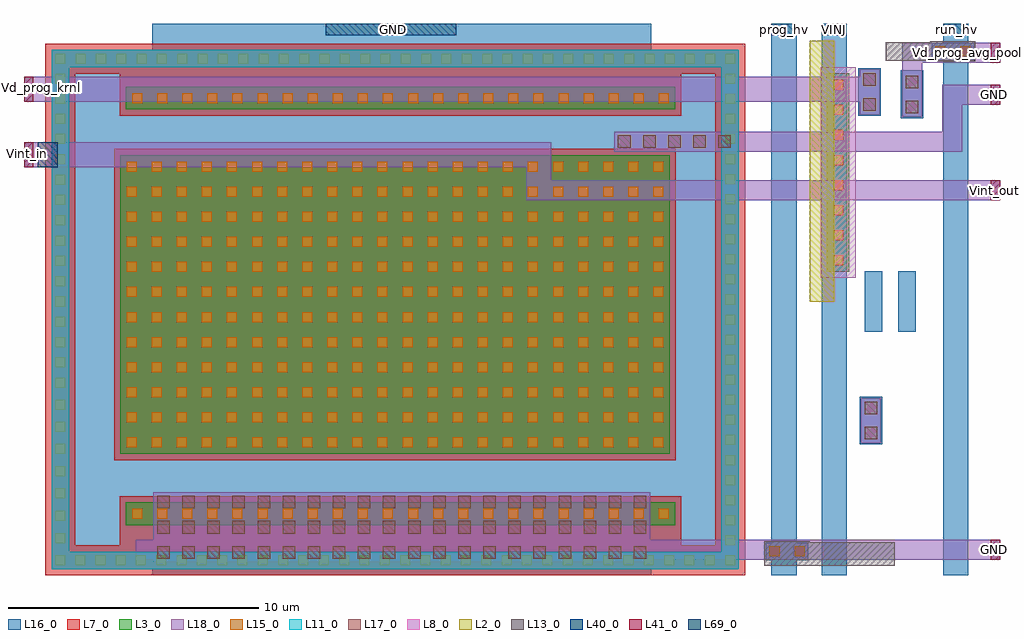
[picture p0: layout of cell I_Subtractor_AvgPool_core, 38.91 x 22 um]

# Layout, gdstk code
from math import pi, radians
import gdstk
lib = gdstk.Library(unit=1e-6, precision=1e-09)
def R(c, l, rs):  # rectangles x0, y0, x1, y1
    for r in rs: c.add(gdstk.rectangle(r[:2], r[2:], *l))
def A(c, l, x, y, w, h, nx, ny, dx, dy):  # array of equal rectangles
    R(c, l, [(x+i*dx, y+j*dy, x+i*dx+w, y+j*dy+h) for i in range(nx) for j in range(ny)])
L2_0 = (2, 0)
L3_0 = (3, 0)
L7_0 = (7, 0)
L8_0 = (8, 0)
L11_0 = (11, 0)
L13_0 = (13, 0)
L15_0 = (15, 0)
L16_0 = (16, 0)
L17_0 = (17, 0)
L18_0 = (18, 0)
L40_0 = (40, 0)
L41_0 = (41, 0)
L69_0 = (69, 0)

m2_m1_cdns_761869623390 = lib.new_cell('M2_M1_CDNS_761869623390')
R(m2_m1_cdns_761869623390, L16_0, [(-9.95,-1.45,9.95,1.45)])
A(m2_m1_cdns_761869623390, L17_0, -9.75, -1.25, 0.5, 0.5, 20, 3, 1, 1)
R(m2_m1_cdns_761869623390, L18_0, [(-9.9,-1.4,9.9,1.4)])

m1_pactive_cdns_76186962 = lib.new_cell('M1_PACTIVE_CDNS_761869623391')
R(m1_pactive_cdns_76186962, L3_0, [(-10.95,-5.95,10.95,5.95)])
R(m1_pactive_cdns_76186962, L7_0, [(-11.2,-6.2,11.2,6.2)])
A(m1_pactive_cdns_76186962, L15_0, -10.7, -5.7, 0.4, 0.4, 22, 12, 1, 1)
R(m1_pactive_cdns_76186962, L16_0, [(-10.85,-5.85,10.85,5.85)])

m1_poly1_cdns_7618696233 = lib.new_cell('M1_POLY1_CDNS_761869623392')
R(m1_poly1_cdns_7618696233, L13_0, [(-0.9,-0.4,0.9,0.4)])
R(m1_poly1_cdns_7618696233, L15_0, [(-0.7,-0.2,-0.3,0.2), (0.3,-0.2,0.7,0.2)])
R(m1_poly1_cdns_7618696233, L16_0, [(-0.85,-0.35,0.85,0.35)])

c_m1_pactive_cdns_76186962 = lib.new_cell('M1_PACTIVE_CDNS_761869623393')
R(c_m1_pactive_cdns_76186962, L3_0, [(-10.95,-0.45,10.95,0.45)])
R(c_m1_pactive_cdns_76186962, L7_0, [(-11.2,-0.7,11.2,0.7)])
A(c_m1_pactive_cdns_76186962, L15_0, -10.7, -0.2, 0.4, 0.4, 22, 1, 1, 0)
R(c_m1_pactive_cdns_76186962, L16_0, [(-10.85,-0.35,10.85,0.35)])

m2_m1_cdns_761869623394 = lib.new_cell('M2_M1_CDNS_761869623394')
R(m2_m1_cdns_761869623394, L16_0, [(-0.45,-0.95,0.45,0.95)])
R(m2_m1_cdns_761869623394, L17_0, [(-0.25,-0.75,0.25,-0.25), (-0.25,0.25,0.25,0.75)])
R(m2_m1_cdns_761869623394, L18_0, [(-0.4,-0.9,0.4,0.9)])

m1_nactive_cdns_76186962 = lib.new_cell('M1_NACTIVE_CDNS_761869623395')
R(m1_nactive_cdns_76186962, L3_0, [(-0.45,-3.95,0.45,3.95)])
R(m1_nactive_cdns_76186962, L8_0, [(-0.7,-4.2,0.7,4.2)])
A(m1_nactive_cdns_76186962, L15_0, -0.2, -3.7, 0.4, 0.4, 1, 8, 0, 1)
R(m1_nactive_cdns_76186962, L16_0, [(-0.35,-3.85,0.35,3.85)])

m2_m1_cdns_761869623396 = lib.new_cell('M2_M1_CDNS_761869623396')
R(m2_m1_cdns_761869623396, L16_0, [(-2.45,-0.45,2.45,0.45)])
A(m2_m1_cdns_761869623396, L17_0, -2.25, -0.25, 0.5, 0.5, 5, 1, 1, 0)
R(m2_m1_cdns_761869623396, L18_0, [(-2.4,-0.4,2.4,0.4)])

i_subtractor_avgpool_cor = lib.new_cell('I_Subtractor_AvgPool_core')
R(i_subtractor_avgpool_cor, L2_0, [(31.32,10.92,32.31,21.32)])
R(i_subtractor_avgpool_cor, L7_0, [(3.81,1.2,26.21,1.76), (3.81,19.73,26.21,20), (3.81,19.73,26.21,20)])
R(i_subtractor_avgpool_cor, L13_0, [(29.52,0.38,34.71,1.32), (34.36,20.52,37.78,21.25)])
R(i_subtractor_avgpool_cor, L15_0, [(1.25,0.4,1.65,0.8), (1.25,0.4,1.65,0.8), (2.05,0.4,2.45,0.8), (2.05,0.4,2.45,0.8), (2.85,0.4,3.25,0.8), (2.85,0.4,3.25,0.8), (3.65,0.4,4.05,0.8), (3.65,0.4,4.05,0.8), (4.46,0.4,4.86,0.8), (4.46,0.4,4.86,0.8), (5.27,0.4,5.67,0.8), (5.27,0.4,5.67,0.8), (6.08,0.4,6.48,0.8), (6.08,0.4,6.48,0.8), (6.89,0.4,7.29,0.8), (6.89,0.4,7.29,0.8), (7.7,0.4,8.1,0.8), (7.7,0.4,8.1,0.8), (8.51,0.4,8.91,0.8), (8.51,0.4,8.91,0.8), (9.32,0.4,9.72,0.8), (9.32,0.4,9.72,0.8), (10.13,0.4,10.53,0.8), (10.13,0.4,10.53,0.8), (10.94,0.4,11.34,0.8), (10.94,0.4,11.34,0.8), (11.75,0.4,12.15,0.8), (11.75,0.4,12.15,0.8), (12.56,0.4,12.96,0.8), (12.56,0.4,12.96,0.8), (13.37,0.4,13.77,0.8), (13.37,0.4,13.77,0.8), (14.18,0.4,14.58,0.8), (14.18,0.4,14.58,0.8), (14.99,0.4,15.39,0.8), (14.99,0.4,15.39,0.8), (15.8,0.4,16.2,0.8), (15.8,0.4,16.2,0.8), (16.61,0.4,17.01,0.8), (16.61,0.4,17.01,0.8), (17.42,0.4,17.82,0.8), (17.42,0.4,17.82,0.8), (18.23,0.4,18.63,0.8), (18.23,0.4,18.63,0.8), (19.04,0.4,19.44,0.8), (19.04,0.4,19.44,0.8), (19.85,0.4,20.25,0.8), (19.85,0.4,20.25,0.8), (20.66,0.4,21.06,0.8), (20.66,0.4,21.06,0.8), (21.47,0.4,21.87,0.8), (21.47,0.4,21.87,0.8), (22.28,0.4,22.68,0.8), (22.28,0.4,22.68,0.8), (23.09,0.4,23.49,0.8), (23.09,0.4,23.49,0.8), (23.9,0.4,24.3,0.8), (23.9,0.4,24.3,0.8), (24.71,0.4,25.11,0.8), (24.71,0.4,25.11,0.8), (25.52,0.4,25.92,0.8), (25.52,0.4,25.92,0.8), (26.33,0.4,26.73,0.8), (26.33,0.4,26.73,0.8), (27.14,0.4,27.54,0.8), (27.14,0.4,27.54,0.8), (27.95,0.4,28.35,0.8), (27.95,0.4,28.35,0.8), (27.95,1.2,28.35,1.6), (27.95,1.2,28.35,1.6), (1.25,1.29,1.65,1.69), (1.25,1.29,1.65,1.69), (27.95,2,28.35,2.4), (27.95,2,28.35,2.4), (1.25,2.18,1.65,2.58), (1.25,2.18,1.65,2.58), (27.95,2.8,28.35,3.2), (27.95,2.8,28.35,3.2), (1.25,3.07,1.65,3.47), (1.25,3.07,1.65,3.47), (27.95,3.6,28.35,4), (27.95,3.6,28.35,4), (1.25,3.96,1.65,4.36), (1.25,3.96,1.65,4.36), (27.95,4.4,28.35,4.8), (27.95,4.4,28.35,4.8), (1.25,4.85,1.65,5.25), (1.25,4.85,1.65,5.25), (27.95,5.2,28.35,5.6), (27.95,5.2,28.35,5.6), (1.25,5.73,1.65,6.13), (1.25,5.73,1.65,6.13), (27.95,6,28.35,6.4), (27.95,6,28.35,6.4), (1.25,6.61,1.65,7.01), (1.25,6.61,1.65,7.01), (27.95,6.8,28.35,7.2), (27.95,6.8,28.35,7.2), (1.25,7.49,1.65,7.89), (1.25,7.49,1.65,7.89), (27.95,7.6,28.35,8), (27.95,7.6,28.35,8), (1.25,8.29,1.65,8.69), (1.25,8.29,1.65,8.69), (27.95,8.4,28.35,8.8), (27.95,8.4,28.35,8.8), (1.25,9.1,1.65,9.5), (1.25,9.1,1.65,9.5), (27.95,9.2,28.35,9.6), (27.95,9.2,28.35,9.6), (1.25,9.91,1.65,10.31), (1.25,9.91,1.65,10.31), (27.95,10,28.35,10.4), (27.95,10,28.35,10.4), (1.25,10.72,1.65,11.12), (1.25,10.72,1.65,11.12), (27.95,10.8,28.35,11.2), (27.95,10.8,28.35,11.2), (1.25,11.53,1.65,11.93), (1.25,11.53,1.65,11.93), (27.95,11.6,28.35,12), (27.95,11.6,28.35,12), (1.25,12.34,1.65,12.74), (1.25,12.34,1.65,12.74), (27.95,12.4,28.35,12.8), (27.95,12.4,28.35,12.8), (1.25,13.15,1.65,13.55), (1.25,13.15,1.65,13.55), (27.95,13.2,28.35,13.6), (27.95,13.2,28.35,13.6), (1.25,13.96,1.65,14.36), (1.25,13.96,1.65,14.36), (27.95,14,28.35,14.4), (27.95,14,28.35,14.4), (1.25,14.77,1.65,15.17), (1.25,14.77,1.65,15.17), (27.95,14.8,28.35,15.2), (27.95,14.8,28.35,15.2), (1.25,15.58,1.65,15.98), (1.25,15.58,1.65,15.98), (27.95,15.6,28.35,16), (27.95,15.6,28.35,16), (1.25,16.39,1.65,16.79), (1.25,16.39,1.65,16.79), (27.95,16.4,28.35,16.8), (27.95,16.4,28.35,16.8), (1.25,17.2,1.65,17.6), (1.25,17.2,1.65,17.6), (27.95,17.2,28.35,17.6), (27.95,17.2,28.35,17.6), (1.25,18,1.65,18.4), (1.25,18,1.65,18.4), (27.95,18,28.35,18.4), (27.95,18,28.35,18.4), (1.25,18.8,1.65,19.2), (1.25,18.8,1.65,19.2), (27.95,18.8,28.35,19.2), (27.95,18.8,28.35,19.2), (1.25,19.6,1.65,20), (1.25,19.6,1.65,20), (27.95,19.6,28.35,20), (27.95,19.6,28.35,20), (1.25,20.4,1.65,20.8), (1.25,20.4,1.65,20.8), (2.06,20.4,2.46,20.8), (2.06,20.4,2.46,20.8), (2.87,20.4,3.27,20.8), (2.87,20.4,3.27,20.8), (3.68,20.4,4.08,20.8), (3.68,20.4,4.08,20.8), (4.49,20.4,4.89,20.8), (4.49,20.4,4.89,20.8), (5.3,20.4,5.7,20.8), (5.3,20.4,5.7,20.8), (6.11,20.4,6.51,20.8), (6.11,20.4,6.51,20.8), (6.92,20.4,7.32,20.8), (6.92,20.4,7.32,20.8), (7.73,20.4,8.13,20.8), (7.73,20.4,8.13,20.8), (8.54,20.4,8.94,20.8), (8.54,20.4,8.94,20.8), (9.35,20.4,9.75,20.8), (9.35,20.4,9.75,20.8), (10.16,20.4,10.56,20.8), (10.16,20.4,10.56,20.8), (10.97,20.4,11.37,20.8), (10.97,20.4,11.37,20.8), (11.78,20.4,12.18,20.8), (11.78,20.4,12.18,20.8), (12.59,20.4,12.99,20.8), (12.59,20.4,12.99,20.8), (13.4,20.4,13.8,20.8), (13.4,20.4,13.8,20.8), (14.21,20.4,14.61,20.8), (14.21,20.4,14.61,20.8), (15.02,20.4,15.42,20.8), (15.02,20.4,15.42,20.8), (15.83,20.4,16.23,20.8), (15.83,20.4,16.23,20.8), (16.64,20.4,17.04,20.8), (16.64,20.4,17.04,20.8), (17.45,20.4,17.85,20.8), (17.45,20.4,17.85,20.8), (18.26,20.4,18.66,20.8), (18.26,20.4,18.66,20.8), (19.07,20.4,19.47,20.8), (19.07,20.4,19.47,20.8), (19.88,20.4,20.28,20.8), (19.88,20.4,20.28,20.8), (20.69,20.4,21.09,20.8), (20.69,20.4,21.09,20.8), (21.5,20.4,21.9,20.8), (21.5,20.4,21.9,20.8), (22.31,20.4,22.71,20.8), (22.31,20.4,22.71,20.8), (23.12,20.4,23.52,20.8), (23.12,20.4,23.52,20.8), (23.93,20.4,24.33,20.8), (23.93,20.4,24.33,20.8), (24.74,20.4,25.14,20.8), (24.74,20.4,25.14,20.8), (25.55,20.4,25.95,20.8), (25.55,20.4,25.95,20.8), (26.35,20.4,26.75,20.8), (26.35,20.4,26.75,20.8), (27.15,20.4,27.55,20.8), (27.15,20.4,27.55,20.8), (27.95,20.4,28.35,20.8), (27.95,20.4,28.35,20.8)])
R(i_subtractor_avgpool_cor, L16_0, [(5.11,0,25.01,1.08), (1.51,0.94,28.01,16.2), (1.51,16.2,28.01,20.55), (5.11,19.15,25.01,22)])
R(i_subtractor_avgpool_cor, L40_0, [(12.02,21.54,17.24,22), (29.8,21.54,30.8,22), (31.8,21.54,32.8,22), (36.65,21.54,37.65,22)])
R(i_subtractor_avgpool_cor, L41_0, [(38.54,0.63,38.91,1.43), (38.54,14.95,38.91,15.75), (0,16.27,0.37,17.27), (38.54,18.76,38.91,19.56), (0,18.88,0.37,19.88), (38.54,20.43,38.91,21.23)])
R(i_subtractor_avgpool_cor, L69_0, [(0.54,16.27,1.34,17.27)])
i_subtractor_avgpool_cor.add(gdstk.FlexPath([(33.86,12.12),(33.86,9.71)], 0.7, ends="flush", simple_path=True, layer=16, datatype=0))  # L16_0
i_subtractor_avgpool_cor.add(gdstk.FlexPath([(35.21,12.12),(35.21,9.71)], 0.7, ends="flush", simple_path=True, layer=16, datatype=0))  # L16_0
i_subtractor_avgpool_cor.add(gdstk.FlexPath([(1.45,8.09),(1.45,20.6),(28.15,20.6),(28.15,0.6),(1.45,0.6),(1.45,8.09)], 0.7, ends="flush", simple_path=True, layer=16, datatype=0))  # L16_0
i_subtractor_avgpool_cor.add(gdstk.FlexPath([(32.3,22),(32.3,0)], 1, ends="flush", simple_path=True, layer=16, datatype=0))  # L16_0
i_subtractor_avgpool_cor.add(gdstk.FlexPath([(30.3,22),(30.3,0)], 1, ends="flush", simple_path=True, layer=16, datatype=0))  # L16_0
i_subtractor_avgpool_cor.add(gdstk.FlexPath([(37.15,22),(37.15,0)], 1, ends="flush", simple_path=True, layer=16, datatype=0))  # L16_0
i_subtractor_avgpool_cor.add(gdstk.FlexPath([(38.91,20.83),(35.41,20.83)], 0.8, ends=(0, 0.4), simple_path=True, layer=18, datatype=0))  # L18_0
i_subtractor_avgpool_cor.add(gdstk.FlexPath([(35.41,20.83),(35.41,19.78)], 0.8, ends=(0.4, 0), simple_path=True, layer=18, datatype=0))  # L18_0
i_subtractor_avgpool_cor.add(gdstk.FlexPath([(0,19.38),(34.07,19.38)], 1, ends="flush", simple_path=True, layer=18, datatype=0))  # L18_0
i_subtractor_avgpool_cor.add(gdstk.FlexPath([(38.91,15.35),(20.52,15.35)], 0.8, ends=(0, 0.5), simple_path=True, layer=18, datatype=0))  # L18_0
i_subtractor_avgpool_cor.add(gdstk.FlexPath([(20.52,15.35),(20.52,14.95)], 1, ends=(0.4, 0), simple_path=True, layer=18, datatype=0))  # L18_0
i_subtractor_avgpool_cor.add(gdstk.FlexPath([(20.52,16.77),(20.52,15.35)], 1, ends=(0.5, 0.4), simple_path=True, layer=18, datatype=0))  # L18_0
i_subtractor_avgpool_cor.add(gdstk.FlexPath([(0,16.77),(20.52,16.77)], 1, ends=(0, 0.5), simple_path=True, layer=18, datatype=0))  # L18_0
i_subtractor_avgpool_cor.add(gdstk.FlexPath([(38.91,1.03),(4.46,1.03)], 0.8, ends="flush", simple_path=True, layer=18, datatype=0))  # L18_0
i_subtractor_avgpool_cor.add(gdstk.FlexPath([(37,19.16),(37,17.29)], 0.8, ends="extended", simple_path=True, layer=18, datatype=0))  # L18_0
i_subtractor_avgpool_cor.add(gdstk.FlexPath([(37,17.29),(24.54,17.29)], 0.8, ends=(0.4, 0), simple_path=True, layer=18, datatype=0))  # L18_0
i_subtractor_avgpool_cor.add(gdstk.FlexPath([(38.91,19.16),(37,19.16)], 0.8, ends=(0, 0.4), simple_path=True, layer=18, datatype=0))  # L18_0
i_subtractor_avgpool_cor.add(gdstk.FlexPath([(1.45,8.09),(1.45,20.6),(28.15,20.6),(28.15,0.6),(1.45,0.6),(1.45,8.09)], 1.2, ends="flush", simple_path=True, layer=7, datatype=0))  # L7_0
i_subtractor_avgpool_cor.add(gdstk.FlexPath([(1.45,8.09),(1.45,20.6),(28.15,20.6),(28.15,0.6),(1.45,0.6),(1.45,8.09)], 0.7, ends="flush", simple_path=True, layer=11, datatype=0))  # L11_0
i_subtractor_avgpool_cor.add(gdstk.Reference(m2_m1_cdns_761869623390, (15.06,1.92)))
i_subtractor_avgpool_cor.add(gdstk.Reference(m1_pactive_cdns_76186962, (14.79,10.8)))
i_subtractor_avgpool_cor.add(gdstk.Reference(m1_poly1_cdns_7618696233, (37.03,20.89), rotation=pi, x_reflection=True))
i_subtractor_avgpool_cor.add(gdstk.Reference(m1_poly1_cdns_7618696233, (30.42,0.96)))
i_subtractor_avgpool_cor.add(gdstk.Reference(c_m1_pactive_cdns_76186962, (15.01,19.03)))
i_subtractor_avgpool_cor.add(gdstk.Reference(c_m1_pactive_cdns_76186962, (15.01,2.46), x_reflection=True))
i_subtractor_avgpool_cor.add(gdstk.Reference(m2_m1_cdns_761869623394, (35.41,19.18)))
i_subtractor_avgpool_cor.add(gdstk.Reference(m2_m1_cdns_761869623394, (33.71,19.27)))
i_subtractor_avgpool_cor.add(gdstk.Reference(m2_m1_cdns_761869623394, (33.76,6.17)))
i_subtractor_avgpool_cor.add(gdstk.Reference(m1_nactive_cdns_76186962, (32.46,16.06)))
i_subtractor_avgpool_cor.add(gdstk.Reference(m2_m1_cdns_761869623396, (25.93,17.29)))
i_subtractor_avgpool_cor.add(gdstk.Label('Vd_prog_krnl', (0.15,19.45), layer=41, texttype=0))
i_subtractor_avgpool_cor.add(gdstk.Label('Vd_prog_avg_pool', (38.69,20.84), layer=41, texttype=0))
i_subtractor_avgpool_cor.add(gdstk.Label('Vint_out', (38.69,15.35), layer=41, texttype=0))
i_subtractor_avgpool_cor.add(gdstk.Label('GND', (38.69,1.03), layer=41, texttype=0))
i_subtractor_avgpool_cor.add(gdstk.Label('Vint_in', (0.15,16.84), layer=41, texttype=0))
i_subtractor_avgpool_cor.add(gdstk.Label('GND', (38.69,19.17), layer=41, texttype=0))
i_subtractor_avgpool_cor.add(gdstk.Label('run_hv', (37.16,21.76), layer=40, texttype=0))
i_subtractor_avgpool_cor.add(gdstk.Label('VINJ', (32.31,21.76), layer=40, texttype=0))
i_subtractor_avgpool_cor.add(gdstk.Label('prog_hv', (30.31,21.76), layer=40, texttype=0))
i_subtractor_avgpool_cor.add(gdstk.Label('GND', (14.73,21.76), layer=40, texttype=0))

lib.write_gds('I_Subtractor_AvgPool_core.gds')
